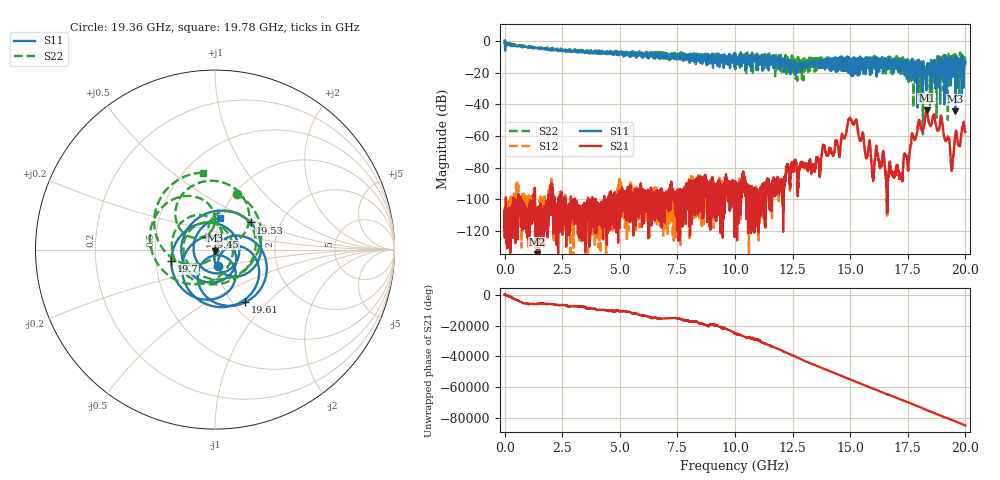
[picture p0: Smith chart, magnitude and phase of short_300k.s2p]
! MS46122B
! 2250307/22442219
! 2/13/2026 1:36:40 PM
! C:\USERS\SPARKY\DOCUMENTS\VNA_DATA\FEB13_2026\SHORT_300K.S2P
! CHANNEL.1
! TR.MEASUREMENT
! RAW.DATA
# GHZ S RI R 50.0
! FREQ.GHZ  S11RE  S11IM  S21RE  S21IM  S12RE  S12IM  S22RE  S22IM
!; PortSelection: Port_12
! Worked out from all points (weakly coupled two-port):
!   10001 points, 1 MHz to 20 GHz, reference 50 ohm
!   highest |S21| = -43.56 dB at 18.32 GHz (marker M1); lowest = -137.0 dB at 1.403 GHz (marker M2)
!   lowest |S11| = -44.3 dB at 19.57 GHz (marker M3), VSWR 1.01, Z = 50 - j0.611 ohm
!   |S11| at or under -10 dB: 11.97 GHz to 14.61 GHz (2.637 GHz wide, 19.8 % of centre); 15.44 GHz to 16.38 GHz (944.7 MHz wide, 5.94 % of centre); 16.39 GHz to 18.85 GHz (2.464 GHz wide, 14 % of centre) (the widest 3 of 71)
!   |S22| runs from -58.9 to -0.1 dB; largest |S21 - S12| = 0.0014
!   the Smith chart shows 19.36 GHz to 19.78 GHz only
!   S11 on the Smith chart (normalised r, x): 19.36 GHz: 1.02, -0.19; 19.45 GHz: 0.90, +0.13; 19.53 GHz: 1.41, +0.45; 19.61 GHz: 1.14, -0.76; 19.7 GHz: 0.60, -0.08; 19.78 GHz: 0.99, +0.37
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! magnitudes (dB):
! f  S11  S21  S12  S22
! 1 MHz  0.4  -116.9  -107.5  -0.1
! 1.403 GHz  -4.5  -137.0  -108.9  -3.7
! 3.335 GHz  -7.1  -113.5  -112.3  -5.5
! 6.669 GHz  -9.3  -102.0  -105.2  -9.2
! 10 GHz  -9.6  -99.5  -97.4  -12.7
! 13.33 GHz  -13.5  -82.2  -82.5  -13.4
! 14.52 GHz  -14.6  -73.1  -72.7  -12.5
! 15 GHz  -19.8  -48.4  -48.6  -14.8
! 15.99 GHz  -11.2  -85.6  -85.3  -15.7
! 16.17 GHz  -12.6  -70.3  -70.2  -11.7
! 16.67 GHz  -10.6  -83.5  -83.3  -10.3
! 17.49 GHz  -13.6  -78.5  -79.0  -11.6
! 18.32 GHz  -23.1  -43.6  -43.8  -20.7
! 18.97 GHz  -14.8  -48.4  -48.5  -15.5
! 19.36 GHz  -20.5  -75.3  -75.4  -9.6
! 19.45 GHz  -21.1  -75.6  -75.9  -19.8
! 19.53 GHz  -12.1  -63.6  -63.3  -19.3
! 19.57 GHz  -44.3  -58.9  -58.8  -8.3
! 19.61 GHz  -9.4  -58.0  -58.0  -21.1
! 19.7 GHz  -12.0  -66.0  -65.8  -12.5
! 19.78 GHz  -14.9  -65.2  -64.9  -7.3
! 20 GHz  -13.5  -57.4  -57.9  -17.5
